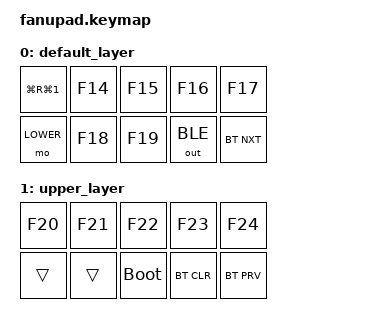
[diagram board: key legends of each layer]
#include <behaviors.dtsi>
#include <dt-bindings/zmk/keys.h>
#include <dt-bindings/zmk/outputs.h>
#include <dt-bindings/zmk/bt.h>

#define DEFAULT 0
#define LOWER   1

/ {
	keymap0: keymap {
		compatible = "zmk,keymap";

		default_layer {
			bindings = <
				&kp LG(RG(N1)) &kp F14 &kp F15 &kp F16 &kp F17
				&mo LOWER &kp F18 &kp F19 &out OUT_BLE &bt BT_NXT
				>;
		};

		upper_layer {
			bindings = <
				&kp F20 &kp F21 &kp F22 &kp F23 &kp F24
				&trans &trans &bootloader &bt BT_CLR &bt BT_PRV
				>;
		};
	};
};
